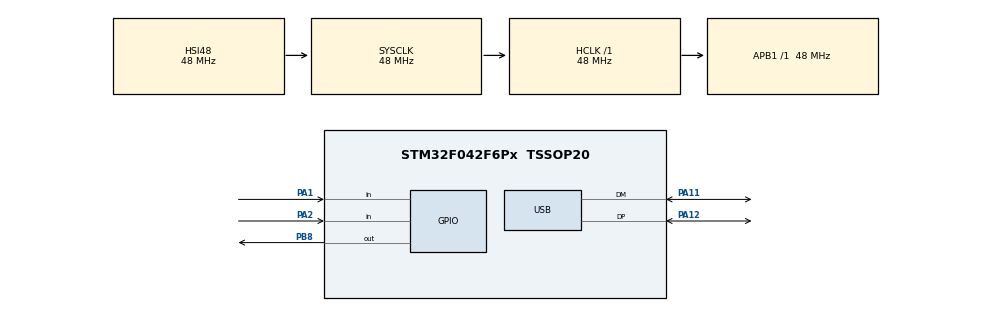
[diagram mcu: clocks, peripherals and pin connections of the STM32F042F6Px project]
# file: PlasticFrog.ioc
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Mcu.Family=STM32F0
Mcu.Name=STM32F042F6Px
Mcu.Package=TSSOP20
NVIC.TIM1_BRK_UP_TRG_COM_IRQn=true\:0\:0\:false\:false\:true\:false\:true
NVIC.TimeBase=TIM1_BRK_UP_TRG_COM_IRQn
NVIC.TimeBaseIP=TIM1
NVIC.USB_IRQn=true\:0\:0\:false\:false\:true\:false\:true
PA1.Signal=GPIO_Input
PA11.Mode=Device
PA11.Signal=USB_DM
PA12.Mode=Device
PA12.Signal=USB_DP
PA2.Signal=GPIO_Input
PB8.Signal=GPIO_Output
ProjectManager.HeapSize=0x200
ProjectManager.StackSize=0x400
ProjectManager.TargetToolchain=Makefile
RCC.AHBFreq_Value=48000000
RCC.APB1Freq_Value=48000000
RCC.APB1TimFreq_Value=48000000
RCC.HCLKFreq_Value=48000000
RCC.SYSCLKFreq_VALUE=48000000
RCC.SYSCLKSource=RCC_SYSCLKSOURCE_HSI48
USB_DEVICE.CLASS_NAME_FS=HID
USB_DEVICE.MANUFACTURER_STRING=Plastic Frog
USB_DEVICE.VirtualMode=Hid
USB_DEVICE.VirtualModeFS=Hid_FS
VP_SYS_VS_PINREMAP.Mode=PINREMAP
VP_SYS_VS_tim1.Mode=TIM1
VP_USB_DEVICE_VS_USB_DEVICE_HID_FS.Mode=HID_FS
board=custom

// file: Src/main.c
/* USER CODE BEGIN Header */
/**
  ******************************************************************************
  * @file           : main.c
  * @brief          : Main program body
  ******************************************************************************
  * @attention
  *
  * <h2><center>&copy; Copyright (c) 2019 STMicroelectronics.
  * All rights reserved.</center></h2>
  *
  * This software component is licensed by ST under Ultimate Liberty license
  * SLA0044, the "License"; You may not use this file except in compliance with
  * the License. You may obtain a copy of the License at:
  *                             www.st.com/SLA0044
  *
  ******************************************************************************
  */
/* USER CODE END Header */

#include "main.h"
#include "usb_device.h"

/* USER CODE BEGIN Includes */
#include <math.h>
/* USER CODE END Includes */

/* USER CODE BEGIN PTD */
// USB media codes
#define USB_HID_SCAN_NEXT 0x01
#define USB_HID_SCAN_PREV 0x02
#define USB_HID_STOP      0x04
#define USB_HID_EJECT     0x08
#define USB_HID_PAUSE     0x10
#define USB_HID_MUTE      0x20
#define USB_HID_VOL_UP    0x40
#define USB_HID_VOL_DEC   0x80

// USB keyboard codes
#define USB_HID_MODIFIER_LEFT_CTRL   0x01
#define USB_HID_MODIFIER_LEFT_SHIFT  0x02
#define USB_HID_MODIFIER_LEFT_ALT    0x04
#define USB_HID_MODIFIER_LEFT_GUI    0x08 // (Win/Apple/Meta)
#define USB_HID_MODIFIER_RIGHT_CTRL  0x10
#define USB_HID_MODIFIER_RIGHT_SHIFT 0x20
#define USB_HID_MODIFIER_RIGHT_ALT   0x40
#define USB_HID_MODIFIER_RIGHT_GUI   0x80
#define USB_HID_KEY_L     0x0F
/* USER CODE END PTD */

/* USER CODE BEGIN PD */

// This line from https://damogranlabs.com/2018/02/stm32-usb-hid-mouse-keyboard/
extern USBD_HandleTypeDef hUsbDeviceFS;

/* USER CODE END PD */

void SystemClock_Config(void);
static void MX_GPIO_Init(void);

int main(void)
{
  /* USER CODE BEGIN 1 */

// HID Keyboard
  struct keyboardHID_t {
      uint8_t id;
      uint8_t modifiers;
      uint8_t key1;
      uint8_t key2;
      uint8_t key3;
  };
  struct keyboardHID_t keyboardHID;
  keyboardHID.id = 1;
  keyboardHID.modifiers = 0;
  keyboardHID.key1 = 0;
  keyboardHID.key2 = 0;
  keyboardHID.key3 = 0;
  // HID Media
  struct mediaHID_t {
    uint8_t id;
    uint8_t keys;
  };
  struct mediaHID_t mediaHID;
  mediaHID.id = 2;
  mediaHID.keys = 0;

  /* USER CODE END 1 */

  /* MCU Configuration--------------------------------------------------------*/

  /* Reset of all peripherals, Initializes the Flash interface and the Systick. */
  HAL_Init();

  /* Configure the system clock */
  SystemClock_Config();

  /* Initialize all configured peripherals */
  MX_GPIO_Init();
  MX_USB_DEVICE_Init();
   uint32_t i = 0;

  /* Infinite loop */
  while (1)
  {

    /* USER CODE BEGIN 3 */
    // Send HID report
    mediaHID.keys = USB_HID_VOL_DEC;
    USBD_HID_SendReport(&hUsbDeviceFS, &mediaHID, sizeof(struct mediaHID_t));
    HAL_Delay(30);
    mediaHID.keys = 0;
    USBD_HID_SendReport(&hUsbDeviceFS, &mediaHID, sizeof(struct mediaHID_t));
    HAL_Delay(30);

    keyboardHID.modifiers = USB_HID_MODIFIER_RIGHT_SHIFT;
    keyboardHID.key1 = USB_HID_KEY_L;
    USBD_HID_SendReport(&hUsbDeviceFS, &keyboardHID, sizeof(struct keyboardHID_t));
    HAL_Delay(30);
    keyboardHID.modifiers = 0;
    keyboardHID.key1 = 0;
    USBD_HID_SendReport(&hUsbDeviceFS, &keyboardHID, sizeof(struct keyboardHID_t));
  }
  /* USER CODE END 3 */
}

void SystemClock_Config(void)
{
  RCC_OscInitTypeDef RCC_OscInitStruct = {0};
  RCC_ClkInitTypeDef RCC_ClkInitStruct = {0};
  RCC_PeriphCLKInitTypeDef PeriphClkInit = {0};

  /** Initializes the CPU, AHB and APB busses clocks
  */
  RCC_OscInitStruct.OscillatorType = RCC_OSCILLATORTYPE_HSI48;
  RCC_OscInitStruct.HSI48State = RCC_HSI48_ON;
  RCC_OscInitStruct.PLL.PLLState = RCC_PLL_NONE;
  if (HAL_RCC_OscConfig(&RCC_OscInitStruct) != HAL_OK)
  {
    Error_Handler();
  }
  /** Initializes the CPU, AHB and APB busses clocks
  */
  RCC_ClkInitStruct.ClockType = RCC_CLOCKTYPE_HCLK|RCC_CLOCKTYPE_SYSCLK
                              |RCC_CLOCKTYPE_PCLK1;
  RCC_ClkInitStruct.SYSCLKSource = RCC_SYSCLKSOURCE_HSI48;
  RCC_ClkInitStruct.AHBCLKDivider = RCC_SYSCLK_DIV1;
  RCC_ClkInitStruct.APB1CLKDivider = RCC_HCLK_DIV1;

  if (HAL_RCC_ClockConfig(&RCC_ClkInitStruct, FLASH_LATENCY_1) != HAL_OK)
  {
    Error_Handler();
  }
  PeriphClkInit.PeriphClockSelection = RCC_PERIPHCLK_USB;
  PeriphClkInit.UsbClockSelection = RCC_USBCLKSOURCE_HSI48;

  if (HAL_RCCEx_PeriphCLKConfig(&PeriphClkInit) != HAL_OK)
  {
    Error_Handler();
  }
}

static void MX_GPIO_Init(void)
{
  GPIO_InitTypeDef GPIO_InitStruct = {0};

  /* GPIO Ports Clock Enable */
  __HAL_RCC_GPIOB_CLK_ENABLE();
  __HAL_RCC_GPIOA_CLK_ENABLE();

  /*Configure GPIO pin Output Level */
  HAL_GPIO_WritePin(GPIOB, GPIO_PIN_8, GPIO_PIN_RESET);

  /*Configure GPIO pin : PB8 */
  GPIO_InitStruct.Pin = GPIO_PIN_8;
  GPIO_InitStruct.Mode = GPIO_MODE_OUTPUT_PP;
  GPIO_InitStruct.Pull = GPIO_NOPULL;
  GPIO_InitStruct.Speed = GPIO_SPEED_FREQ_LOW;
  HAL_GPIO_Init(GPIOB, &GPIO_InitStruct);

  /*Configure GPIO pins : PA1 PA2 */
  GPIO_InitStruct.Pin = GPIO_PIN_1|GPIO_PIN_2;
  GPIO_InitStruct.Mode = GPIO_MODE_INPUT;
  GPIO_InitStruct.Pull = GPIO_NOPULL;
  HAL_GPIO_Init(GPIOA, &GPIO_InitStruct);

}

void HAL_TIM_PeriodElapsedCallback(TIM_HandleTypeDef *htim)
{
  if (htim->Instance == TIM1) {
    HAL_IncTick();
  }
}

void Error_Handler(void)
{
}

/************************ (C) COPYRIGHT STMicroelectronics *****END OF FILE****/
